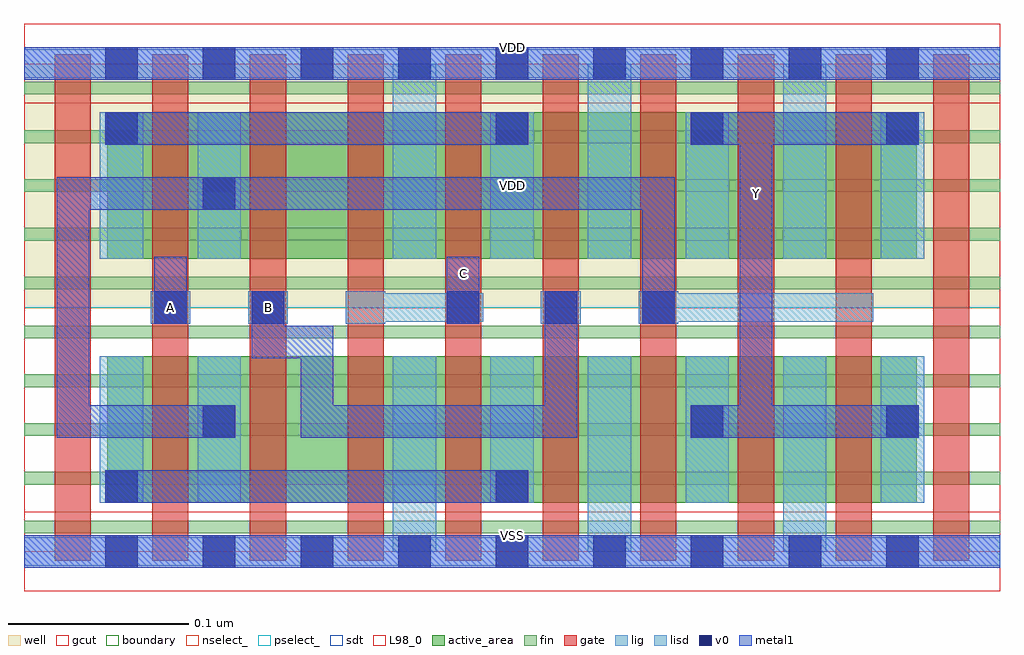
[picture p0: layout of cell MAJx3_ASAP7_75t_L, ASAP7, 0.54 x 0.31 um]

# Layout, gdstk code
import gdstk
lib = gdstk.Library(unit=1e-6, precision=2.5e-10)
def R(c, l, rs):  # rectangles x0, y0, x1, y1
    for r in rs: c.add(gdstk.rectangle(r[:2], r[2:], *l))
def A(c, l, x, y, w, h, nx, ny, dx, dy):  # array of equal rectangles
    R(c, l, [(x+i*dx, y+j*dy, x+i*dx+w, y+j*dy+h) for i in range(nx) for j in range(ny)])
def P(c, l, *ps):  # polygons
    for p in ps: c.add(gdstk.Polygon(p, *l))
well = (1, 0)
fin = (2, 0)
gate = (7, 0)
gcut = (10, 0)
active_area = (11, 0)
nselect_ = (12, 0)
pselect_ = (13, 0)
lig = (16, 0)
lisd = (17, 0)
v0 = (18, 0)
metal1 = (19, 0)
sdt = (88, 0)
L98_0 = (98, 0)
boundary = (100, 0)

majx3_asap7_75t_l = lib.new_cell('MAJx3_ASAP7_75t_L')
R(majx3_asap7_75t_l, well, [(0,0.135,0.54,0.27)])
A(majx3_asap7_75t_l, fin, 0, 0.01, 0.54, 0.007, 1, 10, 0, 0.027)
A(majx3_asap7_75t_l, gate, 0.017, -0.005, 0.02, 0.28, 10, 1, 0.054, 0)
R(majx3_asap7_75t_l, gcut, [(0,-0.022,0.54,0.022), (0,0.248,0.54,0.292)])
R(majx3_asap7_75t_l, active_area, [(0.046,0.027,0.494,0.108), (0.046,0.162,0.494,0.243)])
R(majx3_asap7_75t_l, nselect_, [(0,0,0.54,0.135)])
R(majx3_asap7_75t_l, pselect_, [(0,0.135,0.54,0.27)])
A(majx3_asap7_75t_l, lig, 0.07, 0.126, 0.022, 0.018, 3, 1, 0.054, 0)
R(majx3_asap7_75t_l, lig, [(0,-0.008,0.54,0.008), (0.286,0.126,0.308,0.144), (0.34,0.126,0.362,0.144), (0.178,0.127,0.254,0.143), (0.34,0.127,0.47,0.143), (0,0.262,0.54,0.278)])
A(majx3_asap7_75t_l, lisd, 0.258, 0.027, 0.024, 0.081, 3, 2, 0.108, 0.135)
R(majx3_asap7_75t_l, lisd, [(0.204,0,0.228,0.108), (0.204,0,0.228,0.108), (0.312,0,0.336,0.108), (0.312,0,0.336,0.108), (0.42,0,0.444,0.108), (0.42,0,0.444,0.108), (0.042,0.027,0.066,0.108), (0.096,0.027,0.12,0.108), (0.042,0.162,0.066,0.243), (0.096,0.162,0.12,0.243), (0.204,0.162,0.228,0.27), (0.204,0.162,0.228,0.27), (0.312,0.162,0.336,0.27), (0.312,0.162,0.336,0.27), (0.42,0.162,0.444,0.27), (0.42,0.162,0.444,0.27)])
A(majx3_asap7_75t_l, v0, 0.045, -0.009, 0.018, 0.018, 9, 2, 0.054, 0.27)
A(majx3_asap7_75t_l, v0, 0.234, 0.126, 0.018, 0.018, 3, 1, 0.054, 0)
A(majx3_asap7_75t_l, v0, 0.261, 0.225, 0.018, 0.018, 3, 1, 0.108, 0)
R(majx3_asap7_75t_l, v0, [(0.045,0.027,0.063,0.045), (0.261,0.027,0.279,0.045), (0.099,0.063,0.117,0.081), (0.369,0.063,0.387,0.081), (0.477,0.063,0.495,0.081), (0.072,0.126,0.09,0.144), (0.126,0.126,0.144,0.144), (0.099,0.189,0.117,0.207), (0.045,0.225,0.063,0.243)])
A(majx3_asap7_75t_l, metal1, 0.234, 0.126, 0.018, 0.018, 3, 1, 0.054, 0)
A(majx3_asap7_75t_l, metal1, 0.261, 0.225, 0.018, 0.018, 3, 1, 0.108, 0)
R(majx3_asap7_75t_l, metal1, [(0,-0.009,0.54,0.009), (0.045,0.027,0.063,0.045), (0.045,0.027,0.279,0.045), (0.261,0.027,0.279,0.045), (0.099,0.063,0.117,0.081), (0.369,0.063,0.387,0.081), (0.477,0.063,0.495,0.081), (0.072,0.126,0.09,0.144), (0.072,0.126,0.09,0.163), (0.126,0.126,0.144,0.144), (0.234,0.126,0.252,0.163), (0.099,0.189,0.117,0.207), (0.045,0.225,0.063,0.243), (0.045,0.225,0.279,0.243), (0,0.261,0.54,0.279)])
P(majx3_asap7_75t_l, metal1, [(0.36,0.126),(0.36,0.207),(0.018,0.207),(0.018,0.063),(0.117,0.063),(0.117,0.081),(0.036,0.081),(0.036,0.189),(0.342,0.189),(0.342,0.126)],
  [(0.288,0.144),(0.288,0.081),(0.171,0.081),(0.171,0.125),(0.144,0.125),(0.144,0.144),(0.126,0.144),(0.126,0.107),(0.153,0.107),(0.153,0.063),(0.306,0.063),(0.306,0.144)],
  [(0.495,0.243),(0.369,0.243),(0.369,0.225),(0.396,0.225),(0.396,0.081),(0.369,0.081),(0.369,0.063),(0.495,0.063),(0.495,0.081),(0.414,0.081),(0.414,0.225),(0.495,0.225)])
A(majx3_asap7_75t_l, sdt, 0.204, 0.027, 0.024, 0.081, 3, 2, 0.054, 0.135)
A(majx3_asap7_75t_l, sdt, 0.312, 0.027, 0.024, 0.081, 3, 2, 0.054, 0.135)
R(majx3_asap7_75t_l, sdt, [(0.042,0.027,0.066,0.108), (0.096,0.027,0.12,0.108), (0.204,0.027,0.228,0.108), (0.42,0.027,0.444,0.108), (0.474,0.027,0.498,0.108), (0.042,0.162,0.066,0.243), (0.096,0.162,0.12,0.243), (0.204,0.162,0.228,0.243), (0.42,0.162,0.444,0.243), (0.474,0.162,0.498,0.243)])
R(majx3_asap7_75t_l, L98_0, [(0,0,0.54,0.27)])
R(majx3_asap7_75t_l, boundary, [(0,0,0.54,0.27)])
majx3_asap7_75t_l.add(gdstk.Label('VDD', (0.27,0.2025), layer=1, texttype=251))
majx3_asap7_75t_l.add(gdstk.Label('VSS', (0.27,-0.0675), layer=3, texttype=251))
majx3_asap7_75t_l.add(gdstk.Label('VSS', (0.27,0.009), layer=19, texttype=251))
majx3_asap7_75t_l.add(gdstk.Label('VDD', (0.27,0.279), layer=19, texttype=251))
majx3_asap7_75t_l.add(gdstk.Label('A', (0.081,0.135), layer=19, texttype=251))
majx3_asap7_75t_l.add(gdstk.Label('B', (0.135,0.135), layer=19, texttype=251))
majx3_asap7_75t_l.add(gdstk.Label('C', (0.243,0.154), layer=19, texttype=251))
majx3_asap7_75t_l.add(gdstk.Label('Y', (0.405,0.198), layer=19, texttype=251))

lib.write_gds('MAJx3_ASAP7_75t_L.gds')
